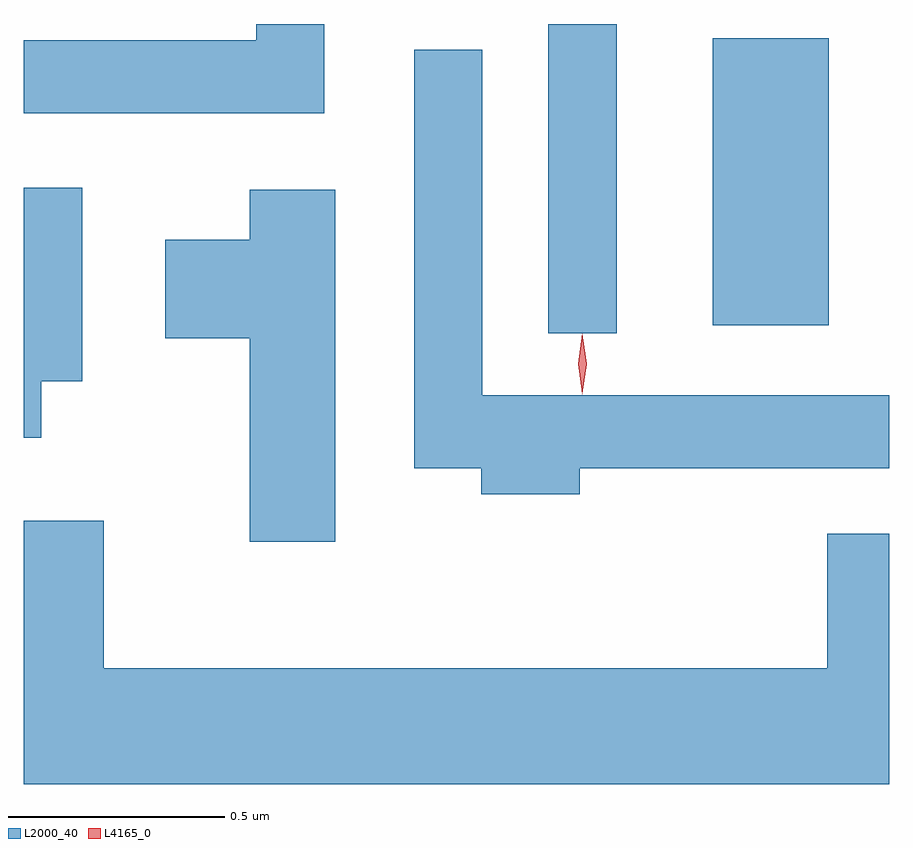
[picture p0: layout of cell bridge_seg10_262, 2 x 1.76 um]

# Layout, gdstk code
import gdstk
lib = gdstk.Library(unit=1e-6, precision=1e-09)
def R(c, l, rs):  # rectangles x0, y0, x1, y1
    for r in rs: c.add(gdstk.rectangle(r[:2], r[2:], *l))
def P(c, l, *ps):  # polygons
    for p in ps: c.add(gdstk.Polygon(p, *l))
L2000_40 = (2000, 40)
L4165_0 = (4165, 0)

bridge_seg10_262 = lib.new_cell('bridge_seg10_262')
R(bridge_seg10_262, L2000_40, [(1739.646,2099.418,1739.804,2100.132), (1740.026,2099.436,1740.294,2100.099)])
P(bridge_seg10_262, L2000_40, [(1739.129,2100.132),(1738.971,2100.132),(1738.971,2100.094),(1738.434,2100.094),(1738.434,2099.926),(1739.129,2099.926)],
  [(1739.719,2099.106),(1740.434,2099.106),(1740.434,2099.274),(1739.494,2099.274),(1739.494,2100.073),(1739.336,2100.073),(1739.336,2099.106),(1739.491,2099.106),(1739.491,2099.046),(1739.719,2099.046)],
  [(1738.474,2099.306),(1738.569,2099.306),(1738.569,2099.754),(1738.434,2099.754),(1738.434,2099.176),(1738.474,2099.176)],
  [(1739.154,2099.749),(1738.956,2099.749),(1738.956,2099.634),(1738.761,2099.634),(1738.761,2099.406),(1738.956,2099.406),(1738.956,2098.936),(1739.154,2098.936)],
  [(1740.434,2098.954),(1740.291,2098.954),(1740.291,2098.644),(1738.619,2098.644),(1738.619,2098.984),(1738.434,2098.984),(1738.434,2098.376),(1740.434,2098.376)])
P(bridge_seg10_262, L4165_0, [(1739.725,2099.279),(1739.724,2099.28),(1739.715,2099.346),(1739.724,2099.412),(1739.725,2099.413),(1739.725,2099.412),(1739.735,2099.346),(1739.725,2099.28)],
  [(1739.725,2099.277),(1739.724,2099.278),(1739.715,2099.347),(1739.724,2099.416),(1739.725,2099.416),(1739.725,2099.416),(1739.735,2099.347),(1739.725,2099.278)])

lib.write_gds('bridge_seg10_262.gds')
